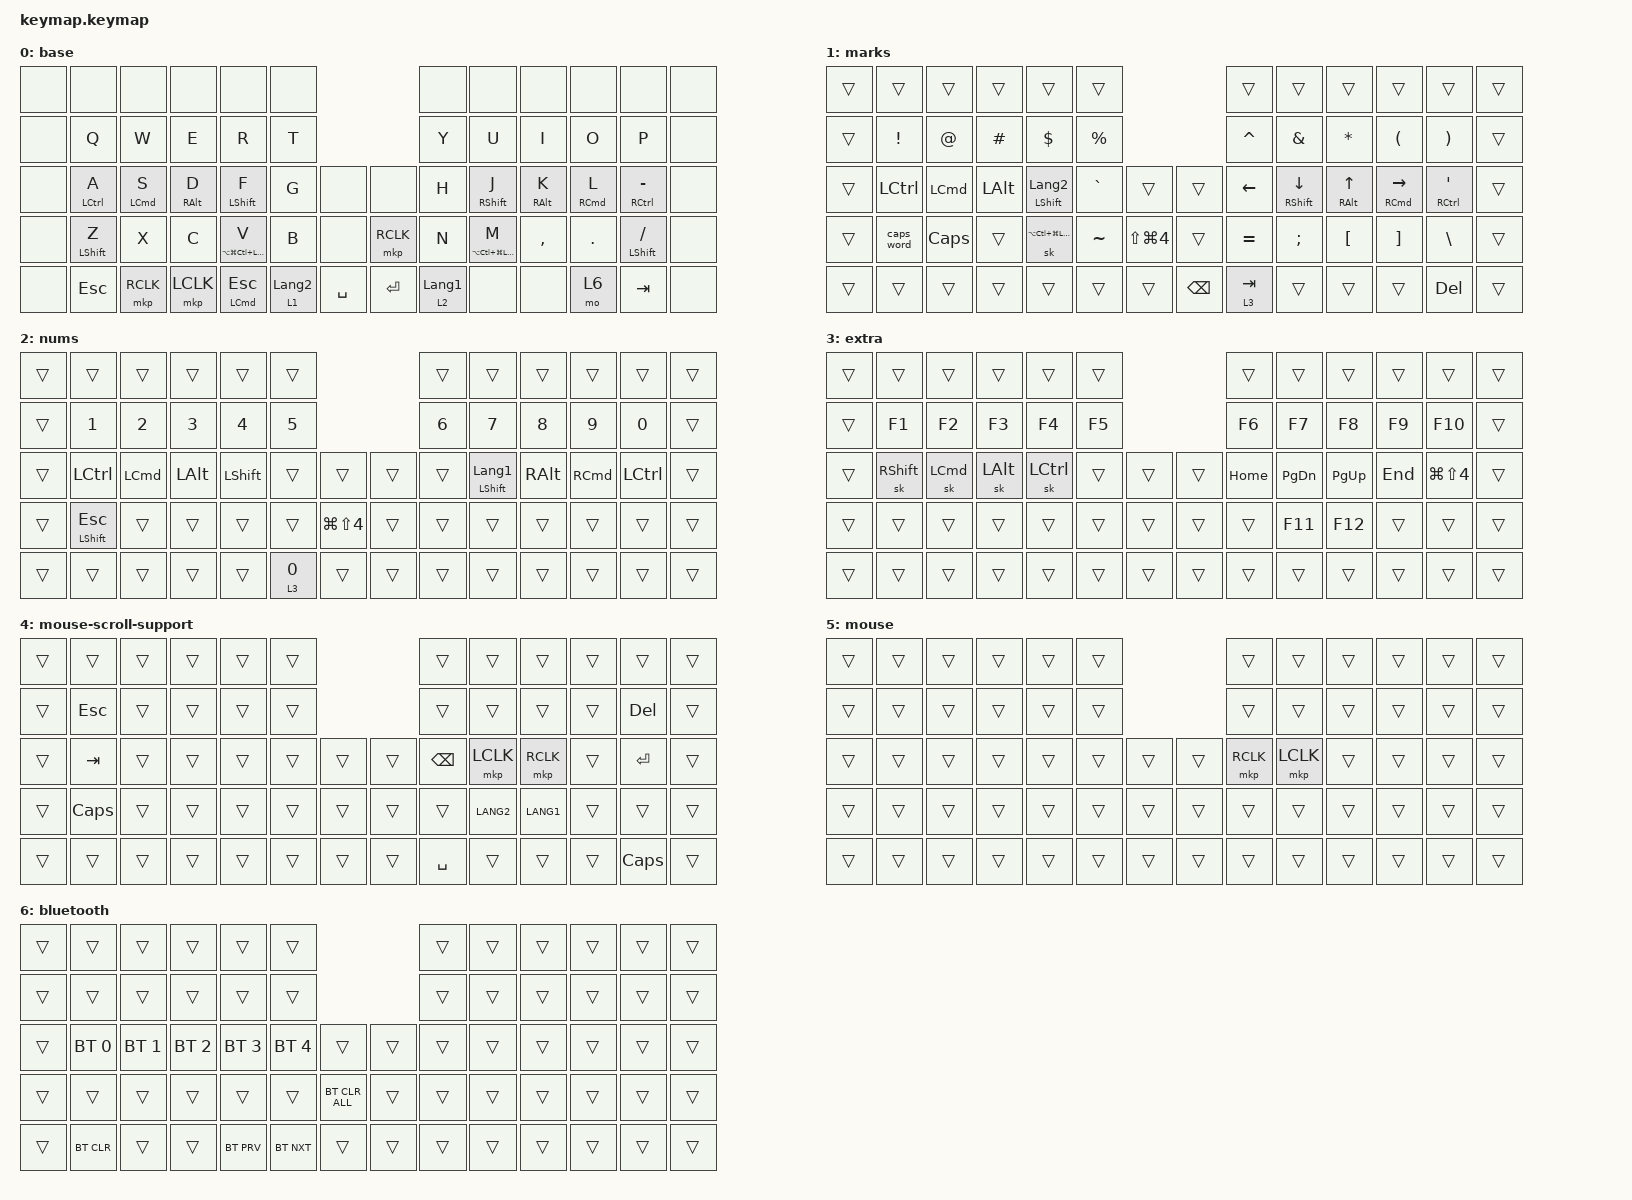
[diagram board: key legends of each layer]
#include <input/processors.dtsi>
#include <behaviors.dtsi>
#include <dt-bindings/zmk/bt.h>
#include <dt-bindings/zmk/keys.h>
#include <dt-bindings/zmk/pointing.h>

&caps_word { continue-list = <UNDERSCORE BACKSPACE DELETE MINUS>; };

&msc { acceleration-exponent = <0>; };

&sk { quick-release; };

// マウスキーを押した後、200mでbase layerに戻る(ダブルクリック猶予)

&mkp_input_listener {
    input-processors = <
        &zip_temp_layer 5 250
    >;
};

/ {
    combos {
        compatible = "zmk,combos";

        sk-shift {
            bindings = <&sk LEFT_SHIFT>;
            key-positions = <33 34>;
        };

        esc {
            bindings = <&caps_word>;
            key-positions = <47 48>;
        };

        backspace {
            bindings = <&kp BACKSPACE>;
            key-positions = <32 33>;
        };

        tab {
            bindings = <&kp TAB>;
            key-positions = <48 49>;
        };

        tab2 {
            bindings = <&kp TAB>;
            key-positions = <35 36>;
        };
    };

    behaviors {
        hold_preferred: hold_preferred {
            compatible = "zmk,behavior-hold-tap";
            label = "HOLD_PREFERRED";
            bindings = <&kp>, <&kp>;

            #binding-cells = <2>;
            tapping-term-ms = <180>;
            quick-tap-ms = <180>;
            flavor = "hold-preferred";
        };

        layer_hold_priority: layer_hold_priority {
            compatible = "zmk,behavior-hold-tap";
            label = "LAYER_HOLD_PRIORITY";
            bindings = <&mo>, <&kp>;

            #binding-cells = <2>;
            tapping-term-ms = <180>;
            hold-while-undecided;
            quick-tap-ms = <180>;
        };

        tap_preferred: tap_preferred {
            compatible = "zmk,behavior-hold-tap";
            label = "TAP_PREFERRED";
            bindings = <&kp>, <&kp>;

            #binding-cells = <2>;
            tapping-term-ms = <180>;
            flavor = "tap-preferred";
            require-prior-idle-ms = <125>;
            quick-tap-ms = <180>;
        };
    };

    macros {
        esc_en: esc_en {
            compatible = "zmk,behavior-macro";
            #binding-cells = <0>;
            bindings = <&kp ESCAPE &kp LANGUAGE_2>;
            label = "ESC_EN";
        };
    };

    keymap {
        compatible = "zmk,keymap";

        base {
            bindings = <
&none  &none                          &none                          &none                       &none                                    &none                                                    &none                              &none                                    &none                       &none                           &none                                &none
&none  &kp Q                          &kp W                          &kp E                       &kp R                                    &kp T                                                    &kp Y                              &kp U                                    &kp I                       &kp O                           &kp P                                &none
&none  &tap_preferred LEFT_CONTROL A  &tap_preferred LEFT_COMMAND S  &tap_preferred RIGHT_ALT D  &tap_preferred LEFT_SHIFT F              &kp G                              &none      &none      &kp H                              &tap_preferred RIGHT_SHIFT J             &tap_preferred RIGHT_ALT K  &tap_preferred RIGHT_COMMAND L  &hold_preferred RIGHT_CONTROL MINUS  &none
&none  &tap_preferred LEFT_SHIFT Z    &kp X                          &kp C                       &tap_preferred LA(LG(LC(LEFT_SHIFT))) V  &kp B                              &none      &mkp RCLK  &kp N                              &tap_preferred LA(LC(LG(LEFT_SHIFT))) M  &kp COMMA                   &kp PERIOD                      &tap_preferred LEFT_SHIFT SLASH      &none
&none  &kp ESCAPE                     &mkp RCLK                      &mkp LCLK                   &hold_preferred LEFT_COMMAND ESCAPE      &layer_hold_priority 1 LANGUAGE_2  &kp SPACE  &kp ENTER  &layer_hold_priority 2 LANGUAGE_1  &none                                    &none                       &mo 6                           &kp TAB                              &none
            >;

            label = "base";
        };

        marks {
            bindings = <
&trans  &trans            &trans            &trans        &trans                                 &trans                                            &trans                      &trans                           &trans                             &trans                              &trans                                     &trans
&trans  &kp EXCL          &kp AT            &kp HASH      &kp DOLLAR                             &kp PERCENT                                       &kp CARET                   &kp AMPERSAND                    &kp ASTERISK                       &kp LEFT_PARENTHESIS                &kp RIGHT_PARENTHESIS                      &trans
&trans  &kp LEFT_CONTROL  &kp LEFT_COMMAND  &kp LEFT_ALT  &hold_preferred LEFT_SHIFT LANGUAGE_2  &kp GRAVE    &trans                &trans         &kp LEFT                    &tap_preferred RIGHT_SHIFT DOWN  &tap_preferred RIGHT_ALT UP_ARROW  &tap_preferred RIGHT_COMMAND RIGHT  &tap_preferred RIGHT_CONTROL SINGLE_QUOTE  &trans
&trans  &caps_word        &kp CAPSLOCK      &trans        &sk LA(LC(LG(LEFT_SHIFT)))             &kp TILDE    &kp LS(LG(NUMBER_4))  &trans         &kp EQUAL                   &kp SEMI                         &kp LEFT_BRACKET                   &kp RIGHT_BRACKET                   &kp BACKSLASH                              &trans
&trans  &trans            &trans            &trans        &trans                                 &trans       &trans                &kp BACKSPACE  &layer_hold_priority 3 TAB  &trans                           &trans                             &trans                              &kp DELETE                                 &trans
            >;
        };

        nums {
            bindings = <
&trans  &trans                             &trans            &trans        &trans          &trans                                                   &trans  &trans                                 &trans         &trans             &trans            &trans
&trans  &kp NUMBER_1                       &kp NUMBER_2      &kp N3        &kp N4          &kp N5                                                   &kp N6  &kp N7                                 &kp N8         &kp N9             &kp N0            &trans
&trans  &kp LEFT_CONTROL                   &kp LEFT_COMMAND  &kp LEFT_ALT  &kp LEFT_SHIFT  &trans                     &trans                &trans  &trans  &hold_preferred LEFT_SHIFT LANGUAGE_1  &kp RIGHT_ALT  &kp RIGHT_COMMAND  &kp LEFT_CONTROL  &trans
&trans  &hold_preferred LEFT_SHIFT ESCAPE  &trans            &trans        &trans          &trans                     &kp LG(LS(NUMBER_4))  &trans  &trans  &trans                                 &trans         &trans             &trans            &trans
&trans  &trans                             &trans            &trans        &trans          &layer_hold_priority 3 N0  &trans                &trans  &trans  &trans                                 &trans         &trans             &trans            &trans
            >;
        };

        extra {
            bindings = <
&trans  &trans     &trans            &trans        &trans            &trans                  &trans    &trans         &trans       &trans   &trans                &trans
&trans  &kp F1     &kp F2            &kp F3        &kp F4            &kp F5                  &kp F6    &kp F7         &kp F8       &kp F9   &kp F10               &trans
&trans  &sk RSHFT  &sk LEFT_COMMAND  &sk LEFT_ALT  &sk LEFT_CONTROL  &trans  &trans  &trans  &kp HOME  &kp PAGE_DOWN  &kp PAGE_UP  &kp END  &kp LG(LS(NUMBER_4))  &trans
&trans  &trans     &trans            &trans        &trans            &trans  &trans  &trans  &trans    &kp F11        &kp F12      &trans   &trans                &trans
&trans  &trans     &trans            &trans        &trans            &trans  &trans  &trans  &trans    &trans         &trans       &trans   &trans                &trans
            >;
        };

        mouse-scroll-support {
            bindings = <
&trans  &trans        &trans  &trans  &trans  &trans                  &trans         &trans     &trans     &trans  &trans        &trans
&trans  &kp ESCAPE    &trans  &trans  &trans  &trans                  &trans         &trans     &trans     &trans  &kp DELETE    &trans
&trans  &kp TAB       &trans  &trans  &trans  &trans  &trans  &trans  &kp BACKSPACE  &mkp LCLK  &mkp RCLK  &trans  &kp ENTER     &trans
&trans  &kp CAPSLOCK  &trans  &trans  &trans  &trans  &trans  &trans  &trans         &kp LANG2  &kp LANG1  &trans  &trans        &trans
&trans  &trans        &trans  &trans  &trans  &trans  &trans  &trans  &kp SPACE      &trans     &trans     &trans  &kp CAPSLOCK  &trans
            >;
        };

        mouse {
            bindings = <
&trans  &trans  &trans  &trans  &trans  &trans                  &trans     &trans     &trans  &trans  &trans  &trans
&trans  &trans  &trans  &trans  &trans  &trans                  &trans     &trans     &trans  &trans  &trans  &trans
&trans  &trans  &trans  &trans  &trans  &trans  &trans  &trans  &mkp RCLK  &mkp LCLK  &trans  &trans  &trans  &trans
&trans  &trans  &trans  &trans  &trans  &trans  &trans  &trans  &trans     &trans     &trans  &trans  &trans  &trans
&trans  &trans  &trans  &trans  &trans  &trans  &trans  &trans  &trans     &trans     &trans  &trans  &trans  &trans
            >;
        };

        bluetooth {
            bindings = <
&trans  &trans        &trans        &trans        &trans        &trans                                &trans  &trans  &trans  &trans  &trans  &trans
&trans  &trans        &trans        &trans        &trans        &trans                                &trans  &trans  &trans  &trans  &trans  &trans
&trans  &bt BT_SEL 0  &bt BT_SEL 1  &bt BT_SEL 2  &bt BT_SEL 3  &bt BT_SEL 4  &trans          &trans  &trans  &trans  &trans  &trans  &trans  &trans
&trans  &trans        &trans        &trans        &trans        &trans        &bt BT_CLR_ALL  &trans  &trans  &trans  &trans  &trans  &trans  &trans
&trans  &bt BT_CLR    &trans        &trans        &bt BT_PRV    &bt BT_NXT    &trans          &trans  &trans  &trans  &trans  &trans  &trans  &trans
            >;
        };
    };
};
